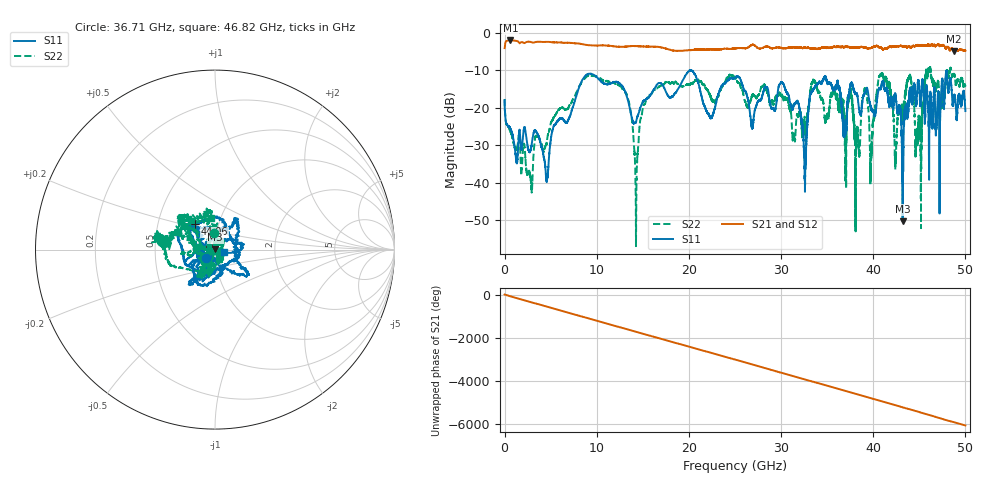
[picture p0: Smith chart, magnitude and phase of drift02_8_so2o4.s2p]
!Created with skrf (http://scikit-rf.org).
# Hz S RI R 50.0
!freq ReS11 ImS11 ReS21 ImS21 ReS12 ImS12 ReS22 ImS22
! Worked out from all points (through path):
!   10001 points, 300 kHz to 50 GHz, reference 50 ohm
!   highest |S21| = -1.99 dB at 630.3 MHz (marker M1); lowest = -4.9 dB at 48.77 GHz (marker M2)
!   group delay of S21, straight-line fit = 337 ps
!   lowest |S11| = -50.3 dB at 43.19 GHz (marker M3), VSWR 1.01, Z = 50.2 + j0.265 ohm
!   |S11| at or under -10 dB: start of sweep to 20.06 GHz; 20.06424 GHz to 20.06575 GHz (1.508 MHz wide, 0.00752 % of centre); 20.24 GHz to end of sweep (the widest 3 of 5)
!   |S22| runs from -57.0 to -8.9 dB; largest |S21 - S12| = 0.035
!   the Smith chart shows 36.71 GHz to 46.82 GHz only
!   S11 on the Smith chart (normalised r, x): 36.71 GHz: 0.90, -0.09; 44.06 GHz: 0.77, +0.22; 46.82 GHz: 1.10, -0.03
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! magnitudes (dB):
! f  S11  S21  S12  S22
! 300 kHz  -18.0  -4.0  -4.0  -17.6
! 630.3 MHz  -25.6  -2.0  -2.0  -26.4
! 4.565 GHz  -39.8  -2.4  -2.4  -29.3
! 8.335 GHz  -13.0  -2.9  -2.9  -13.2
! 13.02 GHz  -15.3  -3.7  -3.6  -15.6
! 14.27 GHz  -23.8  -3.5  -3.5  -53.9
! 16.67 GHz  -13.4  -3.7  -3.7  -14.5
! 25 GHz  -12.0  -4.1  -4.1  -12.0
! 30.18 GHz  -13.4  -4.1  -4.1  -17.3
! 32.56 GHz  -39.0  -4.0  -3.9  -24.5
! 33.34 GHz  -15.8  -4.0  -4.1  -13.6
! 36.71 GHz  -22.8  -3.7  -3.7  -20.4
! 38.28 GHz  -16.9  -3.9  -3.9  -25.2
! 39.13 GHz  -15.9  -3.9  -3.8  -14.5
! 39.81 GHz  -20.3  -4.0  -4.0  -32.5
! 41.67 GHz  -18.5  -3.8  -3.9  -13.1
! 43.19 GHz  -50.3  -3.6  -3.6  -21.3
! 44.06 GHz  -14.9  -3.9  -3.9  -11.9
! 44.99 GHz  -14.1  -3.4  -3.3  -22.2
! 46.82 GHz  -26.1  -3.3  -3.4  -15.0
! 48.77 GHz  -17.3  -4.9  -4.8  -11.0
! 50 GHz  -20.9  -4.7  -4.6  -14.4
